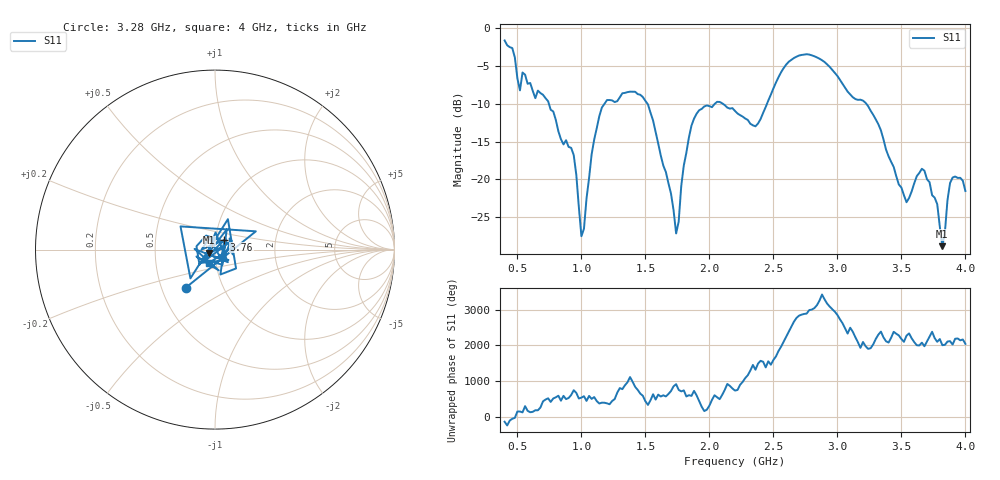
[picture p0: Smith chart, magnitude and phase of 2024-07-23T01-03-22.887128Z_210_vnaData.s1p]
!Created with skrf (http://scikit-rf.org).
# Hz S RI R 50.0
!freq ReS11 ImS11
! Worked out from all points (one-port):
!   181 points, 400 MHz to 4 GHz, reference 50 ohm
!   lowest |S11| = -28.8 dB at 3.82 GHz (marker M1), VSWR 1.08, Z = 46.9 - j1.63 ohm
!   |S11| at or under -10 dB: 746 MHz to 1.18 GHz (434.5 MHz wide, 45.1 % of centre); 1.517 GHz to 2.042 GHz (525.5 MHz wide, 29.5 % of centre); 3.226 GHz to end of sweep (the widest 3 of 4)
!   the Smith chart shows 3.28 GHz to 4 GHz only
!   S11 on the Smith chart (normalised r, x): 3.28 GHz: 0.66, -0.30; 3.76 GHz: 1.10, +0.12; 4 GHz: 0.92, -0.14
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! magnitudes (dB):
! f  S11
! 400 MHz  -1.6
! 460 MHz  -2.6
! 520 MHz  -8.2
! 540 MHz  -5.9
! 700 MHz  -8.8
! 860 MHz  -15.4
! 940 MHz  -16.8
! 1 GHz  -27.5
! 1.14 GHz  -11.6
! 1.3 GHz  -9.1
! 1.52 GHz  -10.1
! 1.7 GHz  -21.9
! 1.74 GHz  -27.2
! 1.76 GHz  -25.6
! 1.8 GHz  -18.2
! 1.88 GHz  -12.0
! 2.2 GHz  -10.9
! 2.36 GHz  -13.0
! 2.66 GHz  -3.9
! 2.88 GHz  -4.2
! 3.1 GHz  -8.8
! 3.28 GHz  -11.5
! 3.56 GHz  -22.5
! 3.66 GHz  -18.6
! 3.76 GHz  -22.4
! 3.82 GHz  -28.8
! 3.88 GHz  -20.5
! 4 GHz  -21.5
